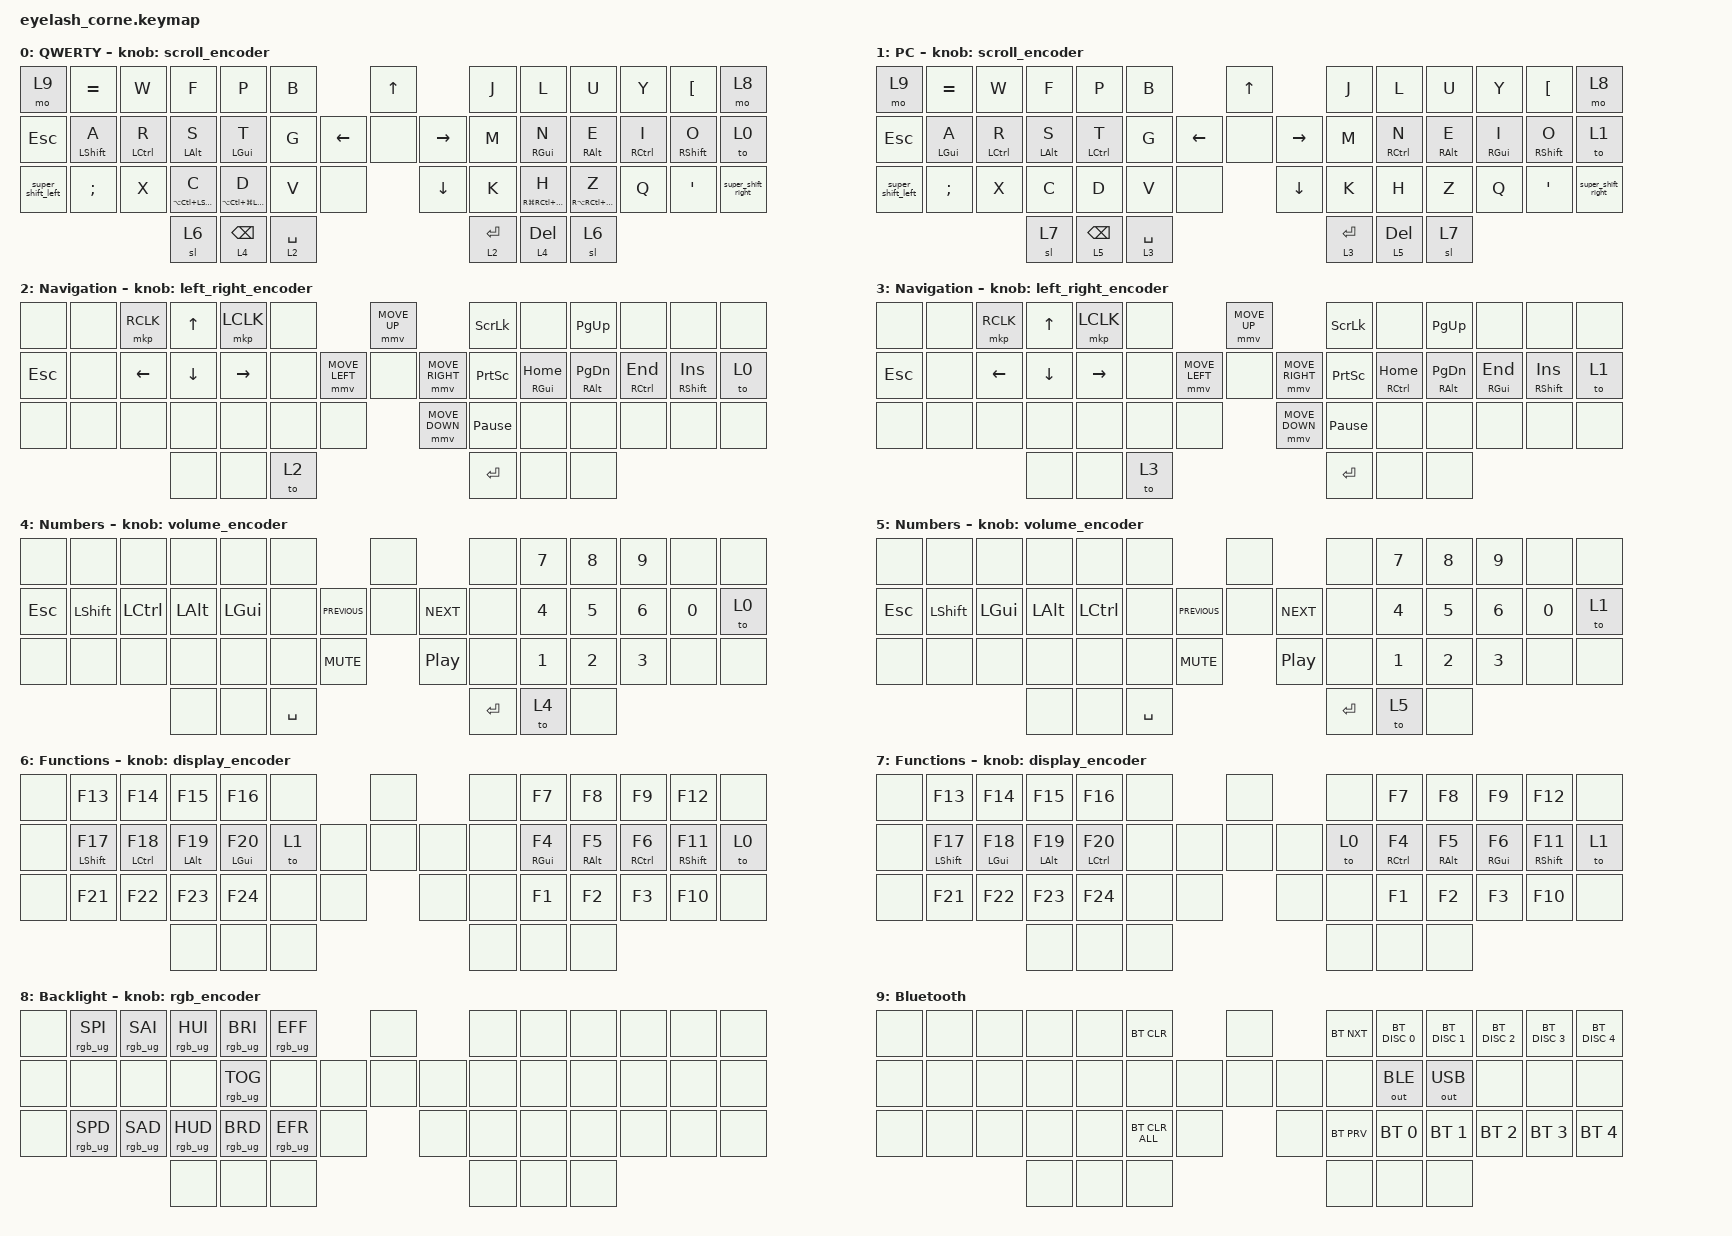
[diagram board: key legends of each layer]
#define ZMK_POINTING_DEFAULT_MOVE_VAL 1200  // 600
#define ZMK_POINTING_DEFAULT_SCRL_VAL 25   // 10

#include <input/processors.dtsi>
#include <zephyr/dt-bindings/input/input-event-codes.h>
#include <behaviors.dtsi>
#include <dt-bindings/zmk/bt.h>
#include <dt-bindings/zmk/keys.h>
#include <dt-bindings/zmk/outputs.h>
#include <dt-bindings/zmk/pointing.h>
#include <dt-bindings/zmk/rgb.h>

&mmv_input_listener { input-processors = <&zip_xy_scaler 2 1>; };

&msc_input_listener { input-processors = <&zip_scroll_scaler 2 1>; };

&msc {
    acceleration-exponent = <1>;      // 0
    time-to-max-speed-ms = <100>;       // 300
    delay-ms = <0>;                   // 0
};

&mmv {
    time-to-max-speed-ms = <500>;
    acceleration-exponent = <1>;
    trigger-period-ms = <16>;
};

/ {
    behaviors {
    };

    rgb_encoder: rgb_encoder {
        compatible = "zmk,behavior-sensor-rotate";
        #sensor-binding-cells = <0>;
        bindings = <&rgb_ug RGB_BRI>, <&rgb_ug RGB_BRD>;

        label = "Change RGB brightness using encoder";
    };

    scroll_encoder: scroll_encoder {
        compatible = "zmk,behavior-sensor-rotate";
        #sensor-binding-cells = <0>;
        bindings = <&msc SCRL_DOWN>, <&msc SCRL_UP>;

        tap-ms = <100>;
        label = "Scroll using encoder";
    };

    volume_encoder: volume_encoder {
        compatible = "zmk,behavior-sensor-rotate";
        label = "Change volume using encoder";
        #sensor-binding-cells = <0>;
        bindings = <&kp C_VOLUME_UP>, <&kp C_VOLUME_DOWN>;
    };

    display_encoder: display_encoder {
        compatible = "zmk,behavior-sensor-rotate";
        label = "Change display brightness using encoder";
        #sensor-binding-cells = <0>;
        bindings = <&kp C_BRIGHTNESS_INC>, <&kp C_BRIGHTNESS_DEC>;
    };

    left_right_encoder: left_right_encoder {
        compatible = "zmk,behavior-sensor-rotate";
        label = "Input left or right using encoder";
        #sensor-binding-cells = <0>;
        bindings = <&kp RIGHT_ARROW>, <&kp LEFT_ARROW>;
    };

    super_shift_left: super_shift_left {
        compatible = "zmk,behavior-tap-dance";
        label = "Left Shift, Caps word, Caps lock";
        #binding-cells = <0>;
        bindings = <&sk LEFT_SHIFT>, <&caps_word>, <&kp CAPSLOCK>;
    };

    super_shift_right: super_shift_right {
        compatible = "zmk,behavior-tap-dance";
        label = "Right Shift, Caps word, Caps lock";
        #binding-cells = <0>;
        bindings = <&sk RIGHT_SHIFT>, <&caps_word>, <&kp CAPSLOCK>;
    };

    combos {
        compatible = "zmk,combos";

        comma {
            bindings = <&kp COMMA>;
            key-positions = <15 16>;
            layers = <0 4 1 5>;
        };

        period {
            bindings = <&kp PERIOD>;
            key-positions = <24 25>;
            layers = <0 4 1 5>;
        };

        semicolon {
            bindings = <&kp SEMICOLON>;
            key-positions = <2 3>;
            layers = <0 4 1 5>;
        };

        colon {
            bindings = <&kp COLON>;
            key-positions = <9 10>;
            layers = <0 4 1 5>;
        };

        question_mark {
            bindings = <&kp LS(MINUS)>;
            key-positions = <30 31>;
            layers = <0 4 1 5>;
        };

        exclamation_point {
            bindings = <&kp LS(NUMBER_1)>;
            key-positions = <38 39>;
            layers = <0 4 1 5>;
        };

        left_brace_mac {
            bindings = <&kp LA(LS(N8))>;
            key-positions = <4 3>;
            layers = <0 4>;
        };

        right_brace_mac {
            bindings = <&kp LS(LA(N9))>;
            key-positions = <8 9>;
            layers = <0 4>;
        };

        left_parenthesis {
            bindings = <&kp LS(N8)>;
            key-positions = <17 16>;
            layers = <0 4 1 5>;
        };

        right_parenthesis {
            bindings = <&kp LS(N9)>;
            key-positions = <23 24>;
            layers = <0 4 1 5>;
        };

        left_bracket_mac {
            bindings = <&kp LA(N8)>;
            key-positions = <32 31>;
            layers = <0 4>;
        };

        right_bracket_mac {
            bindings = <&kp LA(N9)>;
            key-positions = <37 38>;
            layers = <0 4>;
        };

        plus {
            bindings = <&kp MINUS>;
            key-positions = <8 23>;
            layers = <0 4 1 5>;
        };

        minus {
            bindings = <&kp SLASH>;
            key-positions = <23 37>;
            layers = <0 4 1 5>;
        };

        asterisk {
            bindings = <&kp LS(APOSTROPHE)>;
            key-positions = <9 24>;
            layers = <0 4 1 5>;
        };

        forward_slash {
            bindings = <&kp LS(N7)>;
            key-positions = <24 38>;
            layers = <0 4 1 5>;
        };

        ampersand {
            bindings = <&kp LS(NUMBER_6)>;
            key-positions = <10 25>;
            layers = <0 4 1 5>;
        };

        pipe_mac {
            bindings = <&kp LA(N7)>;
            key-positions = <25 39>;
            layers = <0 4>;
        };

        caret_mac {
            bindings = <&kp LS(LA(RIGHT_BRACKET))>;
            key-positions = <7 22>;
            layers = <0 4>;
        };

        underscore {
            bindings = <&kp LS(SLASH)>;
            key-positions = <22 36>;
            layers = <0 4 1 5>;
        };

        percent {
            bindings = <&kp LS(N5)>;
            key-positions = <5 18>;
            layers = <0 4 1 5>;
        };

        tilde_mac {
            bindings = <&kp LA(RIGHT_BRACKET)>;
            key-positions = <18 33>;
            layers = <0 4>;
        };

        equals {
            bindings = <&kp LS(N0)>;
            key-positions = <17 32>;
            layers = <0 4 1 5>;
        };

        euro_mac {
            bindings = <&kp LS(N4)>;
            key-positions = <4 17>;
            layers = <0 4>;
        };

        dollar_mac {
            bindings = <&kp LA(N4)>;
            key-positions = <3 16>;
            layers = <0 4>;
        };

        backslash_mac {
            bindings = <&kp LS(LA(N7))>;
            key-positions = <16 31>;
            layers = <0 4>;
        };

        at_mac {
            bindings = <&kp LA(N2)>;
            key-positions = <2 15>;
            layers = <0 4>;
        };

        hash {
            bindings = <&kp LS(N3)>;
            key-positions = <15 30>;
            layers = <0 4 1 5>;
        };

        less_than {
            bindings = <&kp BACKSLASH>;
            key-positions = <14 15>;
            layers = <0 4 1 5>;
        };

        greater_than {
            bindings = <&kp LS(BACKSLASH)>;
            key-positions = <25 26>;
            layers = <0 4 1 5>;
        };

        tab {
            bindings = <&kp TAB>;
            key-positions = <23 24 25>;
        };

        tab_back {
            bindings = <&kp LS(TAB)>;
            key-positions = <17 16 15>;
        };

        left_brace_pc {
            bindings = <&kp LA(LC(N7))>;
            key-positions = <4 3>;
            layers = <1 5>;
        };

        right_brace_pc {
            bindings = <&kp LA(LC(N0))>;
            key-positions = <8 9>;
            layers = <1 5>;
        };

        left_bracket_pc {
            bindings = <&kp LA(LC(N8))>;
            key-positions = <32 31>;
            layers = <1 5>;
        };

        right_bracket_pc {
            bindings = <&kp LA(LC(N9))>;
            key-positions = <37 38>;
            layers = <1 5>;
        };

        pipe_pc {
            bindings = <&kp LA(LC(BACKSLASH))>;
            key-positions = <25 39>;
            layers = <1 5>;
        };

        caret_pc {
            bindings = <&kp LS(RIGHT_BRACKET)>;
            key-positions = <7 22>;
            layers = <1 5>;
        };

        tilde_pc {
            bindings = <&kp LA(LS(RIGHT_BRACKET))>;
            key-positions = <18 33>;
            layers = <1 5>;
        };

        euro_pc {
            bindings = <&kp LA(LC(E))>;
            key-positions = <4 17>;
            layers = <1 5>;
        };

        dollar_pc {
            bindings = <&kp LA(LS(NUMBER_4))>;
            key-positions = <3 16>;
            layers = <1 5>;
        };

        backslash_pc {
            bindings = <&kp LA(LC(MINUS))>;
            key-positions = <16 31>;
            layers = <1 5>;
        };

        at_pc {
            bindings = <&kp LA(LC(NUMBER_2))>;
            key-positions = <2 15>;
            layers = <1 5>;
        };

        apostrophe {
            bindings = <&kp APOSTROPHE>;
            key-positions = <10 11>;
            layers = <0 4 1 5>;
        };

        quotation {
            bindings = <&kp LS(NUMBER_2)>;
            key-positions = <1 2>;
            layers = <0 4 1 5>;
        };
    };

    keymap {
        compatible = "zmk,keymap";

        base_layer_mac {
            display-name = "QWERTY";
            bindings = <
&mo 9              &kp EQUAL      &kp W        &kp F                     &kp P                         &kp B                           &kp UP               &kp J        &kp L                          &kp U                      &kp Y        &kp LEFT_BRACKET  &mo 8
&kp ESCAPE         &mt LSHIFT A   &mt LCTRL R  &mt LALT S                &mt LGUI T                    &kp G                 &kp LEFT  &none     &kp RIGHT  &kp M        &mt RGUI N                     &mt RALT E                 &mt RCTRL I  &mt RSHIFT O      &to 0
&super_shift_left  &kp SEMICOLON  &kp X        &mt LA(LC(LEFT_SHIFT)) C  &mt LA(LC(LG(LEFT_SHIFT))) D  &kp V        &none              &kp DOWN             &kp K        &mt RG(RC(RA(RIGHT_SHIFT))) H  &mt RA(RC(RIGHT_SHIFT)) Z  &kp Q        &kp APOSTROPHE    &super_shift_right
                                               &sl 6                     &lt 4 BACKSPACE               &lt 2 SPACE                                          &lt 2 ENTER  &lt 4 DELETE                   &sl 6
            >;

            sensor-bindings = <&scroll_encoder>;
            label = "MacOS";
        };

        base_layer_pc {
            label = "PC";
            display-name = "PC";
            bindings = <
&mo 9              &kp EQUAL       &kp W        &kp F       &kp P               &kp B                           &kp UP               &kp J        &kp L                &kp U       &kp Y            &kp LEFT_BRACKET  &mo 8
&kp ESCAPE         &mt LEFT_GUI A  &mt LCTRL R  &mt LALT S  &mt LEFT_CONTROL T  &kp G                 &kp LEFT  &none     &kp RIGHT  &kp M        &mt RIGHT_CONTROL N  &mt RALT E  &mt RIGHT_GUI I  &mt RSHIFT O      &to 1
&super_shift_left  &kp SEMICOLON   &kp X        &kp C       &kp D               &kp V        &none              &kp DOWN             &kp K        &kp H                &kp Z       &kp Q            &kp APOSTROPHE    &super_shift_right
                                                &sl 7       &lt 5 BACKSPACE     &lt 3 SPACE                                          &lt 3 ENTER  &lt 5 DELETE         &sl 7
            >;

            sensor-bindings = <&scroll_encoder>;
        };

        navigation_layer_mac {
            bindings = <
&none       &none  &mkp RCLK       &kp UP_ARROW    &mkp LCLK        &none                           &mmv MOVE_UP                     &kp SCROLLLOCK   &none               &kp PAGE_UP              &none          &none                   &none
&kp ESCAPE  &none  &kp LEFT_ARROW  &kp DOWN_ARROW  &kp RIGHT_ARROW  &none           &mmv MOVE_LEFT  &none           &mmv MOVE_RIGHT  &kp PRINTSCREEN  &mt RIGHT_GUI HOME  &mt RIGHT_ALT PAGE_DOWN  &mt RCTRL END  &mt RIGHT_SHIFT INSERT  &to 0
&none       &none  &none           &none           &none            &none  &none                    &mmv MOVE_DOWN                   &kp PAUSE_BREAK  &none               &none                    &none          &none                   &none
                                   &none           &none            &to 2                                                            &kp ENTER        &none               &none
            >;

            sensor-bindings = <&left_right_encoder>;
            label = "Navigation";
        };

        navigation_layer_pc {
            label = "Navigation ";
            bindings = <
&none       &none  &mkp RCLK       &kp UP_ARROW    &mkp LCLK        &none                           &mmv MOVE_UP                     &kp SCROLLLOCK   &none                   &kp PAGE_UP              &none              &none                   &none
&kp ESCAPE  &none  &kp LEFT_ARROW  &kp DOWN_ARROW  &kp RIGHT_ARROW  &none           &mmv MOVE_LEFT  &none           &mmv MOVE_RIGHT  &kp PRINTSCREEN  &mt RIGHT_CONTROL HOME  &mt RIGHT_ALT PAGE_DOWN  &mt RIGHT_GUI END  &mt RIGHT_SHIFT INSERT  &to 1
&none       &none  &none           &none           &none            &none  &none                    &mmv MOVE_DOWN                   &kp PAUSE_BREAK  &none                   &none                    &none              &none                   &none
                                   &none           &none            &to 3                                                            &kp ENTER        &none                   &none
            >;

            sensor-bindings = <&left_right_encoder>;
        };

        numbers_layer_mac {
            bindings = <
&none       &none           &none             &none         &none         &none                                    &none                         &none      &kp N7        &kp N8  &kp N9  &none   &none
&kp ESCAPE  &kp LEFT_SHIFT  &kp LEFT_CONTROL  &kp LEFT_ALT  &kp LEFT_GUI  &none                    &kp C_PREVIOUS  &none             &kp C_NEXT  &none      &kp N4        &kp N5  &kp N6  &kp N0  &to 0
&none       &none           &none             &none         &none         &none      &kp K_MUTE                    &kp C_PLAY_PAUSE              &none      &kp NUMBER_1  &kp N2  &kp N3  &none   &none
                                              &none         &none         &kp SPACE                                                              &kp ENTER  &to 4         &none
            >;

            sensor-bindings = <&volume_encoder>;
            label = "Numbers";
        };

        numbers_layer_pc {
            label = "Numbers ";
            bindings = <
&none       &none           &none         &none         &none             &none                                    &none                         &none      &kp N7        &kp N8  &kp N9  &none   &none
&kp ESCAPE  &kp LEFT_SHIFT  &kp LEFT_GUI  &kp LEFT_ALT  &kp LEFT_CONTROL  &none                    &kp C_PREVIOUS  &none             &kp C_NEXT  &none      &kp N4        &kp N5  &kp N6  &kp N0  &to 1
&none       &none           &none         &none         &none             &none      &kp K_MUTE                    &kp C_PLAY_PAUSE              &none      &kp NUMBER_1  &kp N2  &kp N3  &none   &none
                                          &none         &none             &kp SPACE                                                              &kp ENTER  &to 5         &none
            >;

            sensor-bindings = <&volume_encoder>;
        };

        functions_layer_mac {
            bindings = <
&none  &kp F13             &kp F14               &kp F15           &kp F16           &none                  &none         &none  &kp F7            &kp F8            &kp F9                &kp F12              &none
&none  &mt LEFT_SHIFT F17  &mt LEFT_CONTROL F18  &mt LEFT_ALT F19  &mt LEFT_GUI F20  &to 1           &none  &none  &none  &none  &mt RIGHT_GUI F4  &mt RIGHT_ALT F5  &mt RIGHT_CONTROL F6  &mt RIGHT_SHIFT F11  &to 0
&none  &kp F21             &kp F22               &kp F23           &kp F24           &none  &none           &none         &none  &kp F1            &kp F2            &kp F3                &kp F10              &none
                                                 &none             &none             &none                                &none  &none             &none
            >;

            sensor-bindings = <&display_encoder>;
            label = "Functions";
        };

        functions_layer_pc {
            label = "Functions ";
            bindings = <
&none  &kp F13             &kp F14           &kp F15           &kp F16               &none                  &none         &none  &kp F7                &kp F8            &kp F9            &kp F12              &none
&none  &mt LEFT_SHIFT F17  &mt LEFT_GUI F18  &mt LEFT_ALT F19  &mt LEFT_CONTROL F20  &none           &none  &none  &none  &to 0  &mt RIGHT_CONTROL F4  &mt RIGHT_ALT F5  &mt RIGHT_GUI F6  &mt RIGHT_SHIFT F11  &to 1
&none  &kp F21             &kp F22           &kp F23           &kp F24               &none  &none           &none         &none  &kp F1                &kp F2            &kp F3            &kp F10              &none
                                             &none             &none                 &none                                &none  &none                 &none
            >;

            sensor-bindings = <&display_encoder>;
        };

        backlight_layer {
            bindings = <
&none  &rgb_ug RGB_SPI  &rgb_ug RGB_SAI  &rgb_ug RGB_HUI  &rgb_ug RGB_BRI  &rgb_ug RGB_EFF                  &none         &none  &none  &none  &none  &none  &none
&none  &none            &none            &none            &rgb_ug RGB_TOG  &none                     &none  &none  &none  &none  &none  &none  &none  &none  &none
&none  &rgb_ug RGB_SPD  &rgb_ug RGB_SAD  &rgb_ug RGB_HUD  &rgb_ug RGB_BRD  &rgb_ug RGB_EFR  &none           &none         &none  &none  &none  &none  &none  &none
                                         &none            &none            &none                                          &none  &none  &none
            >;

            label = "Backlight";
            sensor-bindings = <&rgb_encoder>;
        };

        bluetooth_layer {
            bindings = <
&none  &none  &none  &none  &none  &bt BT_CLR                      &none         &bt BT_NXT  &bt BT_DISC 0  &bt BT_DISC 1  &bt BT_DISC 2  &bt BT_DISC 3  &bt BT_DISC 4
&none  &none  &none  &none  &none  &none                    &none  &none  &none  &none       &out OUT_BLE   &out OUT_USB   &none          &none          &none
&none  &none  &none  &none  &none  &bt BT_CLR_ALL  &none           &none         &bt BT_PRV  &bt BT_SEL 0   &bt BT_SEL 1   &bt BT_SEL 2   &bt BT_SEL 3   &bt BT_SEL 4
                     &none  &none  &none                                         &none       &none          &none
            >;

            label = "Bluetooth";
        };
    };
};
